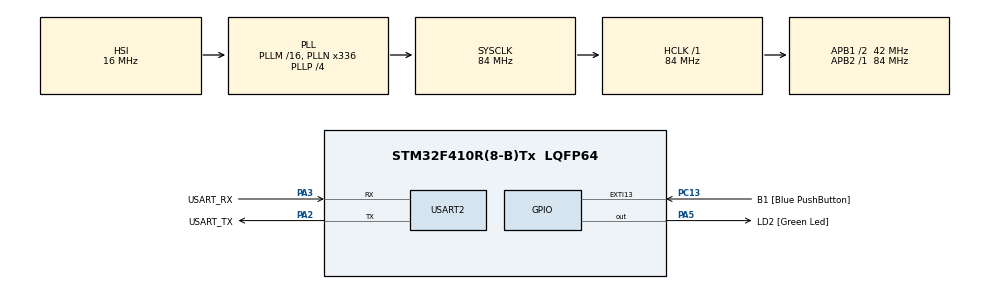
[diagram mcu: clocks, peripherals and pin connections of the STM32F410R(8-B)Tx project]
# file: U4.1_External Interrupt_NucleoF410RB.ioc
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Mcu.Family=STM32F4
Mcu.Name=STM32F410R(8-B)Tx
Mcu.Package=LQFP64
NVIC.EXTI15_10_IRQn=true\:0\:0\:false\:false\:true\:true\:true
NVIC.PriorityGroup=NVIC_PRIORITYGROUP_0
PA13.GPIO_Label=TMS
PA13.Mode=Serial_Wire
PA13.Signal=SYS_JTMS-SWDIO
PA14.GPIO_Label=TCK
PA14.Mode=Serial_Wire
PA14.Signal=SYS_JTCK-SWCLK
PA2.GPIO_Label=USART_TX
PA2.Mode=Asynchronous
PA2.Signal=USART2_TX
PA3.GPIO_Label=USART_RX
PA3.Mode=Asynchronous
PA3.Signal=USART2_RX
PA5.GPIO_Label=LD2 [Green Led]
PA5.GPIO_PuPd=GPIO_NOPULL
PA5.Signal=GPIO_Output
PB3.GPIO_Label=SWO
PB3.Signal=SYS_JTDO-SWO
PC13-ANTI_TAMP.GPIO_Label=B1 [Blue PushButton]
PC13-ANTI_TAMP.GPIO_ModeDefaultEXTI=GPIO_MODE_IT_FALLING
PC13-ANTI_TAMP.GPIO_PuPd=GPIO_PULLUP
PC13-ANTI_TAMP.Signal=GPXTI13
PC14-OSC32_IN.Mode=LSE-External-Oscillator
PC14-OSC32_IN.Signal=RCC_OSC32_IN
PC15-OSC32_OUT.Mode=LSE-External-Oscillator
PC15-OSC32_OUT.Signal=RCC_OSC32_OUT
PH0\ -\ OSC_IN.Mode=HSE-External-Clock-Source
PH0\ -\ OSC_IN.Signal=RCC_OSC_IN
PH1\ -\ OSC_OUT.Mode=HSE-External-Clock-Source
PH1\ -\ OSC_OUT.Signal=RCC_OSC_OUT
ProjectManager.HeapSize=0x200
ProjectManager.StackSize=0x400
ProjectManager.TargetToolchain=STM32CubeIDE
RCC.48MHZClocksFreq_Value=84000000
RCC.AHBFreq_Value=84000000
RCC.APB1CLKDivider=RCC_HCLK_DIV2
RCC.APB1Freq_Value=42000000
RCC.APB1TimFreq_Value=84000000
RCC.APB2Freq_Value=84000000
RCC.APB2TimFreq_Value=84000000
RCC.CortexFreq_Value=84000000
RCC.FLatency-AdvancedSettings=FLASH_LATENCY_2
RCC.HCLKFreq_Value=84000000
RCC.HSE_VALUE=8000000
RCC.HSI_VALUE=16000000
RCC.PLLN=336
RCC.PLLP=RCC_PLLP_DIV4
RCC.SYSCLKFreq_VALUE=84000000
RCC.SYSCLKSource=RCC_SYSCLKSOURCE_PLLCLK
RCC.VCOOutputFreq_Value=336000000
USART2.VirtualMode=VM_ASYNC
board=NUCLEO-F410RB

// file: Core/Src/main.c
/* USER CODE BEGIN Header */
/**
  ******************************************************************************
  * @file           : main.c
  * @brief          : Main program body
  ******************************************************************************
  * @attention
  *
  * Copyright (c) 2022 STMicroelectronics.
  * All rights reserved.
  *
  * This software is licensed under terms that can be found in the LICENSE file
  * in the root directory of this software component.
  * If no LICENSE file comes with this software, it is provided AS-IS.
  *
  ******************************************************************************
  */
/* USER CODE END Header */
#include "main.h"

UART_HandleTypeDef huart2;

void SystemClock_Config(void);
static void MX_GPIO_Init(void);
static void MX_USART2_UART_Init(void);

/* USER CODE BEGIN 0 */

uint8_t counter = 0;
void HAL_GPIO_EXTI_Callback(uint16_t GPIO_Pin){
	if(GPIO_Pin == GPIO_PIN_13){
	  if(counter != 2){
		  counter ++;
	  } else{
		  counter = 0;
	  }
	}
}

uint32_t time_blink;
void led_handle(){
	if(counter == 0){
		HAL_GPIO_WritePin(GPIOA, GPIO_PIN_5, GPIO_PIN_RESET);
	} else if(counter == 1){
		if(HAL_GetTick() - time_blink >= 500){
			HAL_GPIO_TogglePin(GPIOA, GPIO_PIN_5);
			time_blink = HAL_GetTick();
		}
	} else{
		if(HAL_GetTick() - time_blink >= 100){
			HAL_GPIO_TogglePin(GPIOA, GPIO_PIN_5);
			time_blink = HAL_GetTick();
		}
	}
}

/* USER CODE END 0 */

int main(void)
{

  /* MCU Configuration--------------------------------------------------------*/

  /* Reset of all peripherals, Initializes the Flash interface and the Systick. */
  HAL_Init();

  /* Configure the system clock */
  SystemClock_Config();

  /* Initialize all configured peripherals */
  MX_GPIO_Init();
  MX_USART2_UART_Init();

  /* Infinite loop */
  while (1)
  {

    /* USER CODE BEGIN 3 */
//	  HAL_GPIO_TogglePin(GPIOA, GPIO_PIN_5);
//	  HAL_Delay(200);
//	  HAL_GPIO_TogglePin(GPIOA, GPIO_PIN_5);
//	  HAL_Delay(200);
	  led_handle();
  }
  /* USER CODE END 3 */
}

void SystemClock_Config(void)
{
  RCC_OscInitTypeDef RCC_OscInitStruct = {0};
  RCC_ClkInitTypeDef RCC_ClkInitStruct = {0};

  /** Configure the main internal regulator output voltage
  */
  __HAL_RCC_PWR_CLK_ENABLE();
  __HAL_PWR_VOLTAGESCALING_CONFIG(PWR_REGULATOR_VOLTAGE_SCALE1);
  /** Initializes the RCC Oscillators according to the specified parameters
  * in the RCC_OscInitTypeDef structure.
  */
  RCC_OscInitStruct.OscillatorType = RCC_OSCILLATORTYPE_HSI;
  RCC_OscInitStruct.HSIState = RCC_HSI_ON;
  RCC_OscInitStruct.HSICalibrationValue = RCC_HSICALIBRATION_DEFAULT;
  RCC_OscInitStruct.PLL.PLLState = RCC_PLL_ON;
  RCC_OscInitStruct.PLL.PLLSource = RCC_PLLSOURCE_HSI;
  RCC_OscInitStruct.PLL.PLLM = 16;
  RCC_OscInitStruct.PLL.PLLN = 336;
  RCC_OscInitStruct.PLL.PLLP = RCC_PLLP_DIV4;
  RCC_OscInitStruct.PLL.PLLQ = 4;
  RCC_OscInitStruct.PLL.PLLR = 2;
  if (HAL_RCC_OscConfig(&RCC_OscInitStruct) != HAL_OK)
  {
    Error_Handler();
  }
  /** Initializes the CPU, AHB and APB buses clocks
  */
  RCC_ClkInitStruct.ClockType = RCC_CLOCKTYPE_HCLK|RCC_CLOCKTYPE_SYSCLK
                              |RCC_CLOCKTYPE_PCLK1|RCC_CLOCKTYPE_PCLK2;
  RCC_ClkInitStruct.SYSCLKSource = RCC_SYSCLKSOURCE_PLLCLK;
  RCC_ClkInitStruct.AHBCLKDivider = RCC_SYSCLK_DIV1;
  RCC_ClkInitStruct.APB1CLKDivider = RCC_HCLK_DIV2;
  RCC_ClkInitStruct.APB2CLKDivider = RCC_HCLK_DIV1;

  if (HAL_RCC_ClockConfig(&RCC_ClkInitStruct, FLASH_LATENCY_2) != HAL_OK)
  {
    Error_Handler();
  }
}

static void MX_USART2_UART_Init(void)
{

  huart2.Instance = USART2;
  huart2.Init.BaudRate = 115200;
  huart2.Init.WordLength = UART_WORDLENGTH_8B;
  huart2.Init.StopBits = UART_STOPBITS_1;
  huart2.Init.Parity = UART_PARITY_NONE;
  huart2.Init.Mode = UART_MODE_TX_RX;
  huart2.Init.HwFlowCtl = UART_HWCONTROL_NONE;
  huart2.Init.OverSampling = UART_OVERSAMPLING_16;
  if (HAL_UART_Init(&huart2) != HAL_OK)
  {
    Error_Handler();
  }

}

static void MX_GPIO_Init(void)
{
  GPIO_InitTypeDef GPIO_InitStruct = {0};

  /* GPIO Ports Clock Enable */
  __HAL_RCC_GPIOC_CLK_ENABLE();
  __HAL_RCC_GPIOH_CLK_ENABLE();
  __HAL_RCC_GPIOA_CLK_ENABLE();
  __HAL_RCC_GPIOB_CLK_ENABLE();

  /*Configure GPIO pin Output Level */
  HAL_GPIO_WritePin(LD2_GPIO_Port, LD2_Pin, GPIO_PIN_RESET);

  /*Configure GPIO pin : B1_Pin */
  GPIO_InitStruct.Pin = B1_Pin;
  GPIO_InitStruct.Mode = GPIO_MODE_IT_FALLING;
  GPIO_InitStruct.Pull = GPIO_PULLUP;
  HAL_GPIO_Init(B1_GPIO_Port, &GPIO_InitStruct);

  /*Configure GPIO pin : LD2_Pin */
  GPIO_InitStruct.Pin = LD2_Pin;
  GPIO_InitStruct.Mode = GPIO_MODE_OUTPUT_PP;
  GPIO_InitStruct.Pull = GPIO_NOPULL;
  GPIO_InitStruct.Speed = GPIO_SPEED_FREQ_LOW;
  HAL_GPIO_Init(LD2_GPIO_Port, &GPIO_InitStruct);

  /* EXTI interrupt init*/
  HAL_NVIC_SetPriority(EXTI15_10_IRQn, 0, 0);
  HAL_NVIC_EnableIRQ(EXTI15_10_IRQn);

}

void Error_Handler(void)
{
  __disable_irq();
  while (1)
  {
  }
}
